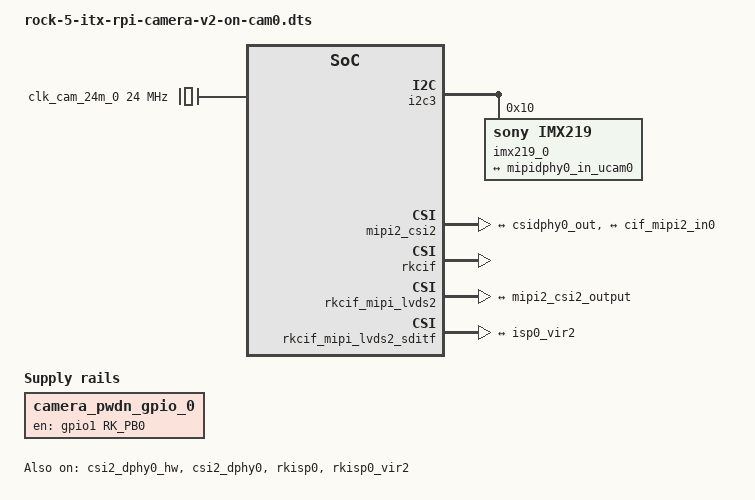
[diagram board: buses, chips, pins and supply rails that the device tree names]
/dts-v1/;
/plugin/;

#include <dt-bindings/gpio/gpio.h>
#include <dt-bindings/pinctrl/rockchip.h>

/ {
	metadata {
		title ="Enable Raspberry Pi Camera v2 on CAM0";
		compatible = "radxa,rock-5-itx";
		category = "camera";
		exclusive = "csi2_dphy0";
		description = "Enable Raspberry Pi Camera v2 on CAM0.";
	};
};

&{/} {
	camera_pwdn_gpio_0: camera-pwdn-gpio-0 {
		compatible = "regulator-fixed";
		regulator-name = "camera_pwdn_gpio_0";
		regulator-always-on;
		regulator-boot-on;
		enable-active-high;
		gpio = <&gpio1 RK_PB0 GPIO_ACTIVE_HIGH>;
		pinctrl-names = "default";
		pinctrl-0 = <&cam_pwdn_gpio_0>;
	};

	clk_cam_24m_0: external-camera-clock-24m-0 {
		compatible = "fixed-clock";
		clock-frequency = <24000000>;
		clock-output-names = "clk_cam_24m_0";
		#clock-cells = <0>;
	};
};

&i2c3 {
	status = "okay";
	#address-cells = <1>;
	#size-cells = <0>;

	imx219_0: imx219-0@10 {
		compatible = "sony,imx219";
		reg = <0x10>;

		clocks = <&clk_cam_24m_0>;
		clock-names = "xvclk";

		rockchip,camera-module-index = <0>;
		rockchip,camera-module-facing = "back";
		rockchip,camera-module-name = "rpi-camera-v2";
		rockchip,camera-module-lens-name = "default";

		port {
			imx219_out0: endpoint {
				remote-endpoint = <&mipidphy0_in_ucam0>;
				data-lanes = <1 2>;
			};
		};
	};
};

&csi2_dphy0_hw {
	status = "okay";
};

&csi2_dphy0 {
	status = "okay";

	ports {
		#address-cells = <1>;
		#size-cells = <0>;

		port@0 {
			reg = <0>;
			#address-cells = <1>;
			#size-cells = <0>;

			mipidphy0_in_ucam0: endpoint@1 {
				reg = <1>;
				remote-endpoint = <&imx219_out0>;
				data-lanes = <1 2>;
			};
		};

		port@1 {
			reg = <1>;
			#address-cells = <1>;
			#size-cells = <0>;

			csidphy0_out: endpoint@0 {
				reg = <0>;
				remote-endpoint = <&mipi2_csi2_input>;
			};
		};
	};
};

&mipi2_csi2 {
	status = "okay";

	ports {
		#address-cells = <1>;
		#size-cells = <0>;

		port@0 {
			reg = <0>;
			#address-cells = <1>;
			#size-cells = <0>;

			mipi2_csi2_input: endpoint@1 {
				reg = <1>;
				remote-endpoint = <&csidphy0_out>;
			};
		};

		port@1 {
			reg = <1>;
			#address-cells = <1>;
			#size-cells = <0>;

			mipi2_csi2_output: endpoint@0 {
				reg = <0>;
				remote-endpoint = <&cif_mipi2_in0>;
			};
		};
	};
};

&rkcif {
	status = "okay";
};

&rkcif_mipi_lvds2 {
	status = "okay";

	port {
		cif_mipi2_in0: endpoint {
			remote-endpoint = <&mipi2_csi2_output>;
		};
	};
};

&rkcif_mipi_lvds2_sditf {
	status = "okay";

	port {
		mipi_lvds2_sditf: endpoint {
			remote-endpoint = <&isp0_vir2>;
		};
	};
};

&rkcif_mmu {
	status = "okay";
};

&isp0_mmu {
	status = "okay";
};

&rkisp0 {
	status = "okay";
};

&rkisp0_vir2 {
	status = "okay";

	port {
		#address-cells = <1>;
		#size-cells = <0>;

		isp0_vir2: endpoint@0 {
			reg = <0>;
			remote-endpoint = <&mipi_lvds2_sditf>;
		};
	};
};

&pinctrl {
	camera {
		cam_pwdn_gpio_0: cam-pwdn-gpio-0 {
			rockchip,pins = <1 RK_PB0 RK_FUNC_GPIO &pcfg_pull_up>;
		};
	};
};
